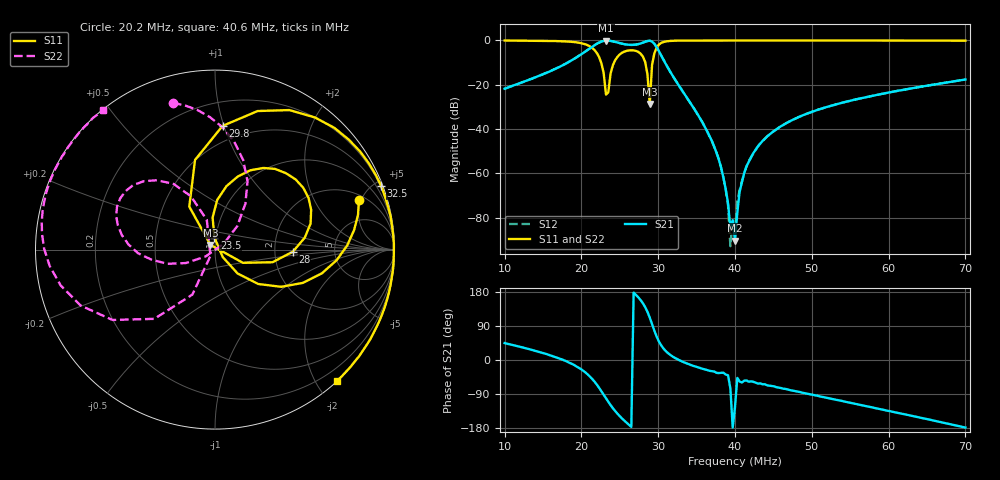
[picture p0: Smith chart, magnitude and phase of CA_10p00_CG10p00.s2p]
#  HZ  S  RI  R  50.00
! Rohde & Schwarz ZVT8 8Ports - Version 4.11 - 1300.0000k08 SN: 100242
! Date: 2026-07-31 14:06:21
! Measurements: S11 S21 S12 S22
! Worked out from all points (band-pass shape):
!   201 points, 10 MHz to 70 MHz, reference 50 ohm
!   highest |S21| = -0.10 dB at 23.2 MHz (marker M1); lowest = -90.4 dB at 40 MHz (marker M2)
!   |S21| within 3 dB of the highest: 21.28 MHz to 29.81 MHz (8.524 MHz wide, 33.4 % of centre)
!   lowest |S11| = -28.8 dB at 28.9 MHz (marker M3), VSWR 1.08, Z = 47.5 + j2.51 ohm
!   |S11| at or under -10 dB: 22.57 MHz to 24.25 MHz (1.68 MHz wide, 7.18 % of centre); 28.32 MHz to 29.26 MHz (944.9 kHz wide, 3.28 % of centre)
!   |S22| runs from -27.3 to 0.0 dB; largest |S21 - S12| = 0.0031
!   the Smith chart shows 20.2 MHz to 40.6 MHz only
!   S11 on the Smith chart (normalised r, x): 20.2 MHz: 2.39, +4.76; 23.5 MHz: 0.99, +0.13; 28 MHz: 2.53, -0.07; 29.8 MHz: 0.38, +0.99; 32.5 MHz: 0.13, +5.40; 40.6 MHz: 0.01, -2.30
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1e7  -0.3952 0.9145  0.0576 0.0571  0.0575 0.0573  -0.914 0.3962
1.57e7  0.3319 0.9212  0.1879 0.0466  0.1884 0.0466  -0.7275 0.6554
2.02e7  0.8016 0.279  0.4569 -0.2414  0.4569 -0.2409  -0.2349 0.8173
2.23e7  0.3684 -0.2073  0.2591 -0.8578  0.2601 -0.8586  0.1812 0.3815
2.32e7  0.0431 -0.0416  -0.1881 -0.9707  -0.1891 -0.9716  0.0485 0.0327
2.35e7  -0.00284 0.067  -0.3418 -0.9276  -0.3413 -0.9285  -0.053 -0.0387
2.47e7  0.1274 0.4075  -0.706 -0.5536  -0.7052 -0.5522  -0.4293 -0.0197
2.8e7  0.434 -0.0117  -0.77 0.4482  -0.7728 0.447  -0.23 0.3655
2.86e7  0.1557 -0.0737  -0.5859 0.7751  -0.5853 0.7772  -0.0455 0.1651
2.89e7  -0.0251 0.0264  -0.3674 0.9125  -0.3668 0.9123  -0.0253 -0.035
2.92e7  -0.1432 0.2395  -0.0783 0.9401  -0.0766 0.9403  -0.1264 -0.2509
2.98e7  0.0421 0.6891  0.3341 0.6192  0.334 0.6196  -0.5713 -0.3919
3.01e7  0.238 0.7721  0.3758 0.4277  0.3747 0.4269  -0.7482 -0.312
3.25e7  0.9256 0.3549  0.1074 0.00374  0.1078 0.00358  -0.9423 0.3103
3.7e7  0.9329 -0.3554  0.00464 -0.00262  0.0046 -0.00257  -0.7581 0.6505
3.94e7  0.78 -0.6217  1.44e-05 -5.55e-05  9.02e-06 2.06e-05  -0.6684 0.7418
4e7  0.7317 -0.6785  -1.7e-05 -2.5e-05  2.99e-05 -3.16e-05  -0.6467 0.7616
4.06e7  0.6811 -0.73  0.00021 -0.000321  0.000297 -0.000284  -0.6244 0.7788
4.36e7  0.3846 -0.9207  0.00236 -0.00485  0.00239 -0.0048  -0.5161 0.8549
5.02e7  -0.3468 -0.9363  -0.00108 -0.025  -0.001 -0.025  -0.2761 0.9587
6.01e7  -0.988 -0.111  -0.0471 -0.0476  -0.0471 -0.0477  0.0974 0.9902
7e7  -0.5242 0.8373  -0.1311 -0.00403  -0.1308 -0.0039  0.4706 0.8698
